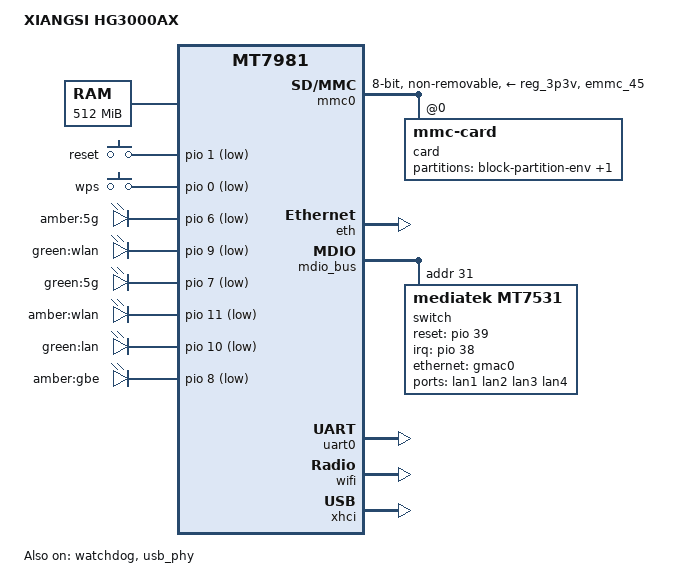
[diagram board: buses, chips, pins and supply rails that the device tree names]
/dts-v1/;

#include <dt-bindings/gpio/gpio.h>
#include <dt-bindings/input/input.h>

#include "mt7981.dtsi"

/ {
	model = "XIANGSI HG3000AX";
	compatible = "xiangsi,hg3000-emmc", "mediatek,mt7981";

	aliases {
		serial0 = &uart0;
		led-boot = &led_status_lan;
		led-failsafe = &led_status_lan;
		led-running = &led_status_lan;
		led-upgrade = &led_status_lan;
	};

	memory {
		reg = <0x00 0x40000000 0x00 0x20000000>;
	};

	chosen {
		bootargs = "console=ttyS0,115200n8  earlycon=uart8250,mmio32,0x11002000 root=/dev/mmcblk0p6 rw rootwait";
	};

	gpio-keys {
		compatible = "gpio-keys";

		reset {
			label = "reset";
			linux,code = <KEY_RESTART>;
			gpios = <&pio 1 GPIO_ACTIVE_LOW>;
		};

		wps {
			label = "wps";
			linux,code = <KEY_WPS_BUTTON>;
			gpios = <&pio 0 GPIO_ACTIVE_LOW>;
		};

	};

	leds {
		compatible = "gpio-leds";

		led_status_red: red {
			label = "amber:5g";
			gpios = <&pio 6 GPIO_ACTIVE_LOW>;
		};

		led_status_green: green {
			label = "green:wlan";
			gpios = <&pio 9 GPIO_ACTIVE_LOW>;
		};

		led_status_blue: blue {
			label = "green:5g";
			gpios = <&pio 7 GPIO_ACTIVE_LOW>;
		};

		led_status_amber: wlan {
			label = "amber:wlan";
			gpios = <&pio 11 GPIO_ACTIVE_LOW>;
		};

		led_status_lan: lan {
			label = "green:lan";
			gpios = <&pio 10 GPIO_ACTIVE_LOW>;
		};

		led_status_wan: wan {
			label = "amber:gbe";
			gpios = <&pio 8 GPIO_ACTIVE_LOW>;
		};
	};
};

&mmc0 {
	pinctrl-names = "default", "state_uhs";
	pinctrl-0 = <&mmc0_pins_default>;
	pinctrl-1 = <&mmc0_pins_uhs>;
	bus-width = <8>;
	max-frequency = <52000000>;
	cap-mmc-highspeed;
	vmmc-supply = <&reg_3p3v>;
	non-removable;
	status = "okay";
	card@0 {
		compatible = "mmc-card";
		reg = <0>;

		block {
			compatible = "block-device";
			partitions {
				block-partition-env {
					partname = "u-boot-env";

					nvmem-layout {
						compatible = "u-boot,env";
					};
				};

				block-partition-factory {
					partname = "factory";

					nvmem-layout {
						compatible = "fixed-layout";
						#address-cells = <1>;
						#size-cells = <1>;
						eeprom_factory_0: eeprom@0 {
							reg = <0x0 0x1000>;
						};

						macaddr_factory_4: macaddr@4 {
							compatible = "mac-base";
							reg = <0x4 0x6>;
							#nvmem-cell-cells = <1>;
						};
					};
				};
			};
		};
	};
};

&eth {
	status = "okay";

	gmac0: mac@0 {
		compatible = "mediatek,eth-mac";
		reg = <0>;
		phy-mode = "2500base-x";
		nvmem-cell-names = "mac-address";
		nvmem-cells = <&macaddr_factory_4 0>;
		fixed-link {
			speed = <2500>;
			full-duplex;
			pause;
		};
	};

	gmac1: mac@1 {
		compatible = "mediatek,eth-mac";
		reg = <1>;
		phy-mode = "gmii";
		phy-handle = <&int_gbe_phy>;
	};
};


&mdio_bus {
	switch: switch@0 {
		compatible = "mediatek,mt7531";
		reg = <31>;
		reset-gpios = <&pio 39 GPIO_ACTIVE_HIGH>;
		interrupt-controller;
		#interrupt-cells = <1>;
		interrupt-parent = <&pio>;
		interrupts = <38 IRQ_TYPE_LEVEL_HIGH>;
	};
};

&switch {
	ports {
		#address-cells = <1>;
		#size-cells = <0>;

		port@0 {
			reg = <0>;
			label = "lan1";
		};

		port@1 {
			reg = <1>;
			label = "lan2";
		};

		port@2 {
			reg = <2>;
			label = "lan3";
		};

		port@3 {
			reg = <3>;
			label = "lan4";
		};

		port@6 {
			reg = <6>;
			ethernet = <&gmac0>;
			phy-mode = "2500base-x";

			fixed-link {
				speed = <2500>;
				full-duplex;
				pause;
			};
		};
	};
};

&pio {
	mmc0_pins_default: mmc0-pins-default {
		mux {
			function = "flash";
			groups = "emmc_45";
		};
	};
	mmc0_pins_uhs: mmc0-pins-uhs {
		mux {
			function = "flash";
			groups = "emmc_45";
		};
	};
};

&uart0 {
	status = "okay";
};

&watchdog {
	status = "okay";
};

&wifi {
	status = "okay";
	nvmem-cells = <&eeprom_factory_0>;
	nvmem-cell-names = "eeprom";
};

&usb_phy {
	status = "okay";
};

&xhci {
	status = "okay";
};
